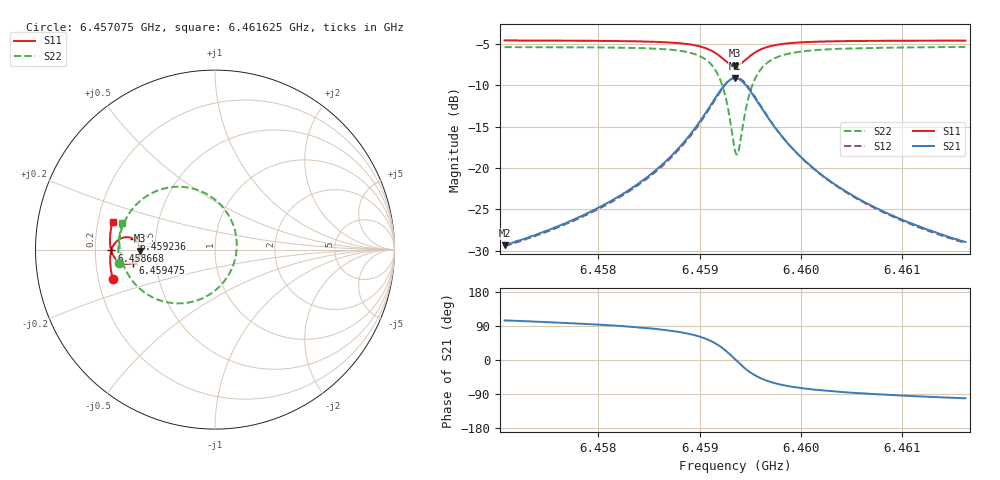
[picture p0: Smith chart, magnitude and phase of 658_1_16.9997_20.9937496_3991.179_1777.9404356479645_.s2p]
#  HZ  S  RI  R  50.00
! Rohde & Schwarz Vector Network Analyzer
! Rohde-Schwarz,ZNB20-2Port,1311601062101988,3.16
! Created: UTC 3/20/2024, 11:21:38 PM
! freq[Hz]  re:S11  im:S11  re:S21  im:S21  re:S12  im:S12  re:S22  im:S22
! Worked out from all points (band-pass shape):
!   401 points, 6.457075 GHz to 6.461625 GHz, reference 50 ohm
!   highest |S21| = -9.12 dB at 6.45935 GHz (marker M1); lowest = -29.4 dB at 6.457075 GHz (marker M2)
!   |S21| within 3 dB of the highest: 6.459124 GHz to 6.459579 GHz (454.8 kHz wide, 0.00704 % of centre)
!   lowest |S11| = -7.6 dB at 6.45935 GHz (marker M3), VSWR 2.43, Z = 20.6 - j0.259 ohm
!   |S11| at or under -10 dB: nowhere
!   |S22| runs from -18.4 to -5.3 dB; largest |S21 - S12| = 0.014
!   S11 on the Smith chart (normalised r, x): 6.457075 GHz: 0.26, -0.13; 6.458668 GHz: 0.27, -0.00; 6.459236 GHz: 0.37, +0.06; 6.459475 GHz: 0.37, -0.07; 6.461625 GHz: 0.26, +0.12
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6.4570748e9  -0.5688 -0.1648  -0.00848 0.033  -0.0068 0.0329  -0.5343 -0.0761
6.457837e9  -0.5819 -0.0976  -0.00493 0.0511  -0.00239 0.0504  -0.5382 0.0139
6.4582466e9  -0.5842 -0.0565  0.000859 0.07  0.00421 0.0686  -0.5297 0.0791
6.4585993e9  -0.5798 -0.0143  0.0154 0.0998  0.0194 0.0968  -0.5024 0.1591
6.4586675e9  -0.5776 -0.00485  0.0208 0.1079  0.025 0.1047  -0.4921 0.179
6.4588609e9  -0.5646 0.0256  0.048 0.139  0.052 0.1338  -0.4412 0.2481
6.4590088e9  -0.5416 0.0516  0.0938 0.1693  0.0971 0.1624  -0.3566 0.3123
6.4591453e9  -0.4974 0.0689  0.1817 0.1855  0.1825 0.178  -0.1959 0.3501
6.4592363e9  -0.4525 0.0584  0.2721 0.1538  0.2721 0.148  -0.0284 0.299
6.4593046e9  -0.4232 0.0261  0.3332 0.0814  0.3352 0.0762  0.0885 0.1681
6.4593501e9  -0.4161 -0.0052  0.3498 0.0127  0.3534 0.00598  0.1213 0.0397
6.4593842e9  -0.42 -0.0292  0.3438 -0.0404  0.3479 -0.0494  0.1099 -0.0613
6.4594297e9  -0.4358 -0.0557  0.3151 -0.1013  0.3174 -0.1134  0.0515 -0.1768
6.4594752e9  -0.458 -0.0723  0.2722 -0.143  0.2716 -0.1565  -0.0352 -0.2531
6.4595662e9  -0.5021 -0.0795  0.1858 -0.1744  0.1795 -0.1863  -0.2078 -0.2997
6.4596345e9  -0.5267 -0.0721  0.1366 -0.1722  0.1285 -0.1813  -0.303 -0.2841
6.4597141e9  -0.5466 -0.0587  0.0964 -0.1599  0.0877 -0.1663  -0.3786 -0.2485
6.4598734e9  -0.5682 -0.0308  0.0509 -0.131  0.0431 -0.1339  -0.4598 -0.1744
6.4601123e9  -0.5808 0.00483  0.0216 -0.0987  0.0157 -0.0994  -0.5079 -0.0906
6.4604536e9  -0.585 0.0457  0.00569 -0.0715  0.00158 -0.0709  -0.5289 -0.0105
6.4608745e9  -0.583 0.0883  -0.00192 -0.0524  -0.00488 -0.0516  -0.5326 0.0579
6.4616253e9  -0.5705 0.1549  -0.00678 -0.035  -0.00856 -0.034  -0.5205 0.1475
